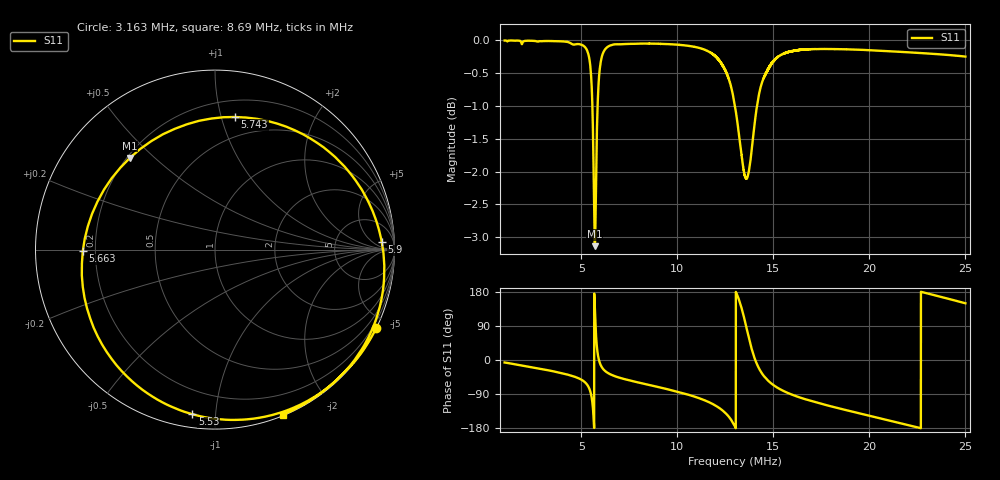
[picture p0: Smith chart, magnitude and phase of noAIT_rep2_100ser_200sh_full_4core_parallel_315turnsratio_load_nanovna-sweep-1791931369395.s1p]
! NanoVNA Web complex sweep
! Processing: unaveraged complex samples; linear segment spacing; no smoothing
# Hz S RI R 50
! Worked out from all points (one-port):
!   5050 points, 1 MHz to 25 MHz, reference 50 ohm
!   lowest |S11| = -3.1 dB at 5.701 MHz (marker M1), VSWR 5.60, Z = 10.6 + j21 ohm
!   |S11| at or under -10 dB: nowhere
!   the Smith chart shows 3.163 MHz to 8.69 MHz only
!   S11 on the Smith chart (normalised r, x): 3.163 MHz: 0.01, -4.32; 5.53 MHz: 0.07, -0.87; 5.663 MHz: 0.15, -0.01; 5.743 MHz: 0.33, +1.10; 5.9 MHz: 20, +12; 8.69 MHz: 0.01, -1.49
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1000000  0.9931 -0.1143
3162615  0.8971 -0.4391
4003896  0.8172 -0.5729
5154122  0.5339 -0.8328
5377513  0.3047 -0.925
5529609  -0.1257 -0.9173
5662693  -0.7366 -0.00896
5700717  -0.4739 0.511
5743494  0.1103 0.7388
5810036  0.7214 0.4631
5900343  0.929 0.0416
6218794  0.8654 -0.4673
7003039  0.6763 -0.7273
8690354  0.3764 -0.9202
1.000218e7  0.1083 -0.9864
1.203647e7  -0.5129 -0.8244
1.258781e7  -0.767 -0.5472
1.300132e7  -0.8881 -0.0638
1.32865e7  -0.6921 0.4568
1.356218e7  -0.0357 0.7842
1.382359e7  0.646 0.4961
1.405174e7  0.8713 0.0044
1.436544e7  0.7791 -0.4976
1.473142e7  0.5469 -0.7795
1.600047e7  -0.0349 -0.9799
1.899961e7  -0.6948 -0.697
2.199875e7  -0.9684 -0.1452
2.49979e7  -0.8387 0.4911
